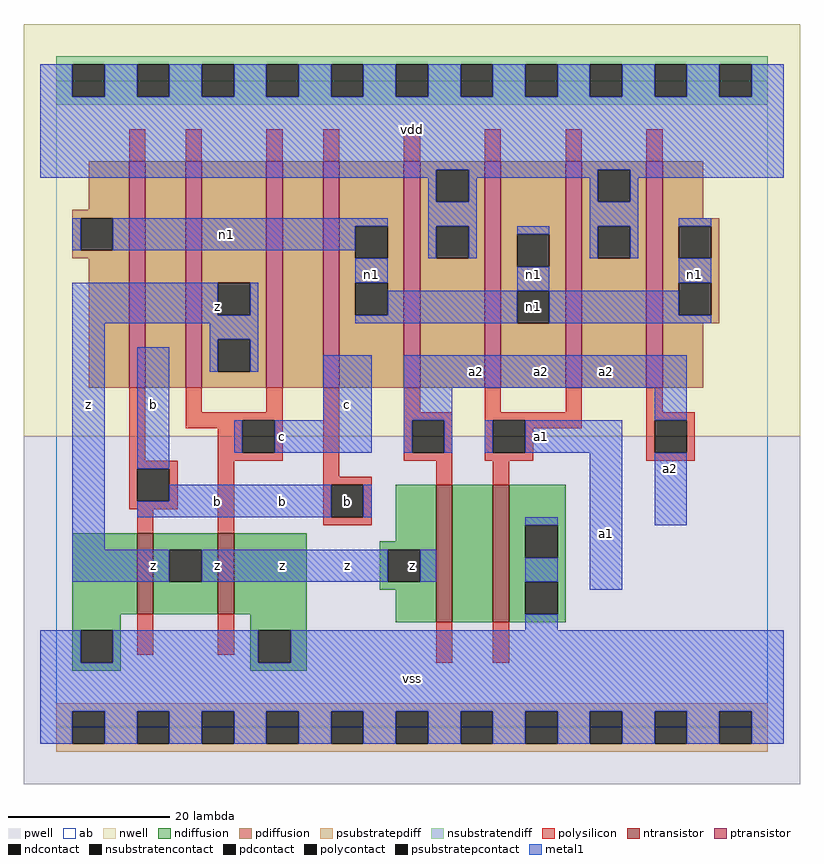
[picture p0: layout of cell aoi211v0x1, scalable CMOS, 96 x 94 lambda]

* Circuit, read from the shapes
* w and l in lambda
.subckt aoi211v0x1 a1 a2 b c n1 vdd vss z
M1 z b vss vss nfet w=10 l=2
M2 vss c z vss nfet w=10 l=2
M3 n2 a2 z vss nfet w=17 l=2
M4 vss a1 n2 vss nfet w=17 l=2
M5 n3 b n1 vdd pfet w=28 l=2
M6 z c n3 vdd pfet w=28 l=2
M7 n4 c z vdd pfet w=28 l=2
M8 n1 b n4 vdd pfet w=28 l=2
M9 vdd a2 n1 vdd pfet w=28 l=2 m=2
M10 n1 a1 vdd vdd pfet w=28 l=2 m=2
.ends

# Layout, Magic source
magic
tech scmos
<< ab >>
rect 0 0 88 80
<< pwell >>
rect -4 -7 92 36
<< nwell >>
rect -4 36 92 87
<< polysilicon >>
rect 9 70 11 74
rect 16 70 18 74
rect 26 70 28 74
rect 33 70 35 74
rect 43 70 45 74
rect 53 70 55 74
rect 63 70 65 74
rect 73 70 75 74
rect 9 33 11 42
rect 16 39 18 42
rect 26 39 28 42
rect 16 38 28 39
rect 16 37 23 38
rect 20 34 23 37
rect 27 34 28 38
rect 20 33 28 34
rect 9 32 15 33
rect 9 28 10 32
rect 14 28 15 32
rect 9 27 15 28
rect 10 24 12 27
rect 20 24 22 33
rect 33 31 35 42
rect 43 39 45 42
rect 53 39 55 42
rect 63 39 65 42
rect 43 38 49 39
rect 43 34 44 38
rect 48 34 49 38
rect 43 33 49 34
rect 53 38 65 39
rect 53 34 54 38
rect 58 37 65 38
rect 73 39 75 42
rect 73 38 79 39
rect 58 34 59 37
rect 53 33 59 34
rect 73 34 74 38
rect 78 34 79 38
rect 73 33 79 34
rect 33 30 39 31
rect 47 30 49 33
rect 54 30 56 33
rect 33 26 34 30
rect 38 26 39 30
rect 33 25 39 26
rect 10 9 12 14
rect 20 9 22 14
rect 47 8 49 13
rect 54 8 56 13
<< ndiffusion >>
rect 2 14 10 24
rect 12 22 20 24
rect 12 18 14 22
rect 18 18 20 22
rect 12 14 20 18
rect 22 14 31 24
rect 42 23 47 30
rect 40 22 47 23
rect 40 18 41 22
rect 45 18 47 22
rect 40 17 47 18
rect 2 12 8 14
rect 2 8 3 12
rect 7 8 8 12
rect 24 12 31 14
rect 42 13 47 17
rect 49 13 54 30
rect 56 25 63 30
rect 56 21 58 25
rect 62 21 63 25
rect 56 18 63 21
rect 56 14 58 18
rect 62 14 63 18
rect 56 13 63 14
rect 2 7 8 8
rect 24 8 25 12
rect 29 8 31 12
rect 24 7 31 8
<< pdiffusion >>
rect 4 64 9 70
rect 2 63 9 64
rect 2 59 3 63
rect 7 59 9 63
rect 2 58 9 59
rect 4 42 9 58
rect 11 42 16 70
rect 18 55 26 70
rect 18 51 20 55
rect 24 51 26 55
rect 18 48 26 51
rect 18 44 20 48
rect 24 44 26 48
rect 18 42 26 44
rect 28 42 33 70
rect 35 62 43 70
rect 35 58 37 62
rect 41 58 43 62
rect 35 55 43 58
rect 35 51 37 55
rect 41 51 43 55
rect 35 42 43 51
rect 45 69 53 70
rect 45 65 47 69
rect 51 65 53 69
rect 45 62 53 65
rect 45 58 47 62
rect 51 58 53 62
rect 45 42 53 58
rect 55 61 63 70
rect 55 57 57 61
rect 61 57 63 61
rect 55 54 63 57
rect 55 50 57 54
rect 61 50 63 54
rect 55 42 63 50
rect 65 69 73 70
rect 65 65 67 69
rect 71 65 73 69
rect 65 62 73 65
rect 65 58 67 62
rect 71 58 73 62
rect 65 42 73 58
rect 75 63 80 70
rect 75 62 82 63
rect 75 58 77 62
rect 81 58 82 62
rect 75 55 82 58
rect 75 51 77 55
rect 81 51 82 55
rect 75 50 82 51
rect 75 42 80 50
<< metal1 >>
rect -2 78 2 82
rect 6 78 10 82
rect 14 78 18 82
rect 22 78 26 82
rect 30 78 34 82
rect 38 78 42 82
rect 46 78 50 82
rect 54 78 58 82
rect 62 78 66 82
rect 70 78 74 82
rect 78 78 82 82
rect 86 78 90 82
rect -2 69 90 78
rect -2 68 47 69
rect 46 65 47 68
rect 51 68 67 69
rect 51 65 52 68
rect 2 59 3 63
rect 7 62 41 63
rect 7 59 37 62
rect 46 62 52 65
rect 66 65 67 68
rect 71 68 90 69
rect 71 65 72 68
rect 66 62 72 65
rect 46 58 47 62
rect 51 58 52 62
rect 57 61 61 62
rect 37 55 41 58
rect 2 51 20 55
rect 24 51 25 55
rect 2 50 25 51
rect 66 58 67 62
rect 71 58 72 62
rect 77 62 81 63
rect 57 54 61 57
rect 77 55 81 58
rect 41 51 57 54
rect 37 50 57 51
rect 61 51 77 54
rect 61 50 81 51
rect 2 22 6 50
rect 19 48 25 50
rect 10 32 14 47
rect 19 44 20 48
rect 24 44 25 48
rect 33 38 39 46
rect 22 34 23 38
rect 27 34 39 38
rect 43 42 78 46
rect 43 38 49 42
rect 74 38 78 42
rect 43 34 44 38
rect 48 34 49 38
rect 53 34 54 38
rect 58 34 70 38
rect 14 28 34 30
rect 10 26 34 28
rect 38 26 39 30
rect 58 25 62 26
rect 2 18 14 22
rect 18 18 41 22
rect 45 18 47 22
rect 58 18 62 21
rect 66 17 70 34
rect 74 25 78 34
rect 58 12 62 14
rect -2 8 3 12
rect 7 8 25 12
rect 29 8 90 12
rect -2 2 90 8
rect -2 -2 2 2
rect 6 -2 10 2
rect 14 -2 18 2
rect 22 -2 26 2
rect 30 -2 34 2
rect 38 -2 42 2
rect 46 -2 50 2
rect 54 -2 58 2
rect 62 -2 66 2
rect 70 -2 74 2
rect 78 -2 82 2
rect 86 -2 90 2
<< ntransistor >>
rect 10 14 12 24
rect 20 14 22 24
rect 47 13 49 30
rect 54 13 56 30
<< ptransistor >>
rect 9 42 11 70
rect 16 42 18 70
rect 26 42 28 70
rect 33 42 35 70
rect 43 42 45 70
rect 53 42 55 70
rect 63 42 65 70
rect 73 42 75 70
<< polycontact >>
rect 23 34 27 38
rect 10 28 14 32
rect 44 34 48 38
rect 54 34 58 38
rect 74 34 78 38
rect 34 26 38 30
<< ndcontact >>
rect 14 18 18 22
rect 41 18 45 22
rect 3 8 7 12
rect 58 21 62 25
rect 58 14 62 18
rect 25 8 29 12
<< pdcontact >>
rect 3 59 7 63
rect 20 51 24 55
rect 20 44 24 48
rect 37 58 41 62
rect 37 51 41 55
rect 47 65 51 69
rect 47 58 51 62
rect 57 57 61 61
rect 57 50 61 54
rect 67 65 71 69
rect 67 58 71 62
rect 77 58 81 62
rect 77 51 81 55
<< psubstratepcontact >>
rect 2 -2 6 2
rect 10 -2 14 2
rect 18 -2 22 2
rect 26 -2 30 2
rect 34 -2 38 2
rect 42 -2 46 2
rect 50 -2 54 2
rect 58 -2 62 2
rect 66 -2 70 2
rect 74 -2 78 2
rect 82 -2 86 2
<< nsubstratencontact >>
rect 2 78 6 82
rect 10 78 14 82
rect 18 78 22 82
rect 26 78 30 82
rect 34 78 38 82
rect 42 78 46 82
rect 50 78 54 82
rect 58 78 62 82
rect 66 78 70 82
rect 74 78 78 82
rect 82 78 86 82
<< psubstratepdiff >>
rect 0 2 88 3
rect 0 -2 2 2
rect 6 -2 10 2
rect 14 -2 18 2
rect 22 -2 26 2
rect 30 -2 34 2
rect 38 -2 42 2
rect 46 -2 50 2
rect 54 -2 58 2
rect 62 -2 66 2
rect 70 -2 74 2
rect 78 -2 82 2
rect 86 -2 88 2
rect 0 -3 88 -2
<< nsubstratendiff >>
rect 0 82 88 83
rect 0 78 2 82
rect 6 78 10 82
rect 14 78 18 82
rect 22 78 26 82
rect 30 78 34 82
rect 38 78 42 82
rect 46 78 50 82
rect 54 78 58 82
rect 62 78 66 82
rect 70 78 74 82
rect 78 78 82 82
rect 86 78 88 82
rect 0 77 88 78
<< labels >>
rlabel metal1 12 20 12 20 6 z
rlabel metal1 4 40 4 40 6 z
rlabel metal1 12 40 12 40 6 b
rlabel metal1 20 20 20 20 6 z
rlabel metal1 20 28 20 28 6 b
rlabel metal1 28 20 28 20 6 z
rlabel metal1 28 28 28 28 6 b
rlabel metal1 28 36 28 36 6 c
rlabel metal1 20 52 20 52 6 z
rlabel metal1 44 6 44 6 6 vss
rlabel metal1 36 20 36 20 6 z
rlabel polycontact 36 28 36 28 6 b
rlabel ndcontact 44 20 44 20 6 z
rlabel metal1 36 40 36 40 6 c
rlabel metal1 39 56 39 56 6 n1
rlabel metal1 21 61 21 61 6 n1
rlabel metal1 44 74 44 74 6 vdd
rlabel metal1 68 24 68 24 6 a1
rlabel metal1 52 44 52 44 6 a2
rlabel metal1 60 36 60 36 6 a1
rlabel metal1 60 44 60 44 6 a2
rlabel metal1 68 44 68 44 6 a2
rlabel metal1 59 56 59 56 6 n1
rlabel metal1 76 32 76 32 6 a2
rlabel metal1 79 56 79 56 6 n1
rlabel pdcontact 59 52 59 52 6 n1
<< end >>
